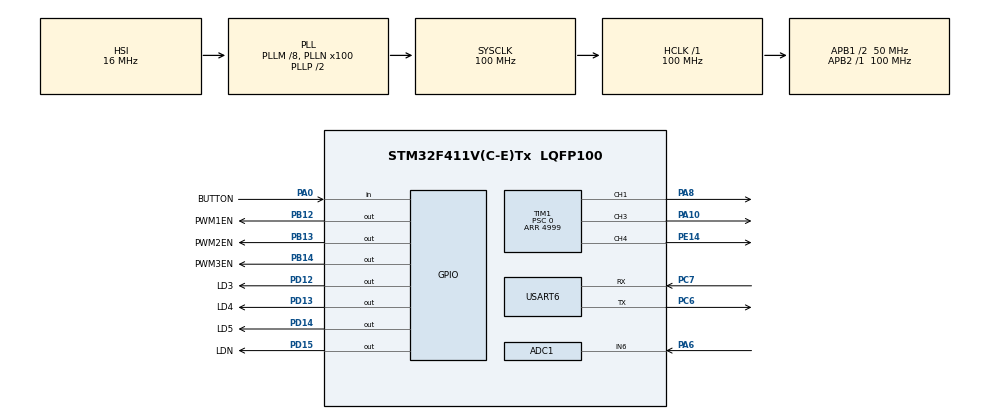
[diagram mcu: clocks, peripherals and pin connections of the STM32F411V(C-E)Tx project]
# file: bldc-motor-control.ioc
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ADC1.Channel-1\#ChannelRegularConversion=ADC_CHANNEL_6
ADC1.ClockPrescaler=ADC_CLOCK_SYNC_PCLK_DIV8
ADC1.ContinuousConvMode=ENABLE
ADC1.DMAContinuousRequests=DISABLE
ADC1.NbrOfConversion=1
ADC1.NbrOfConversionFlag=1
ADC1.Rank-1\#ChannelRegularConversion=1
ADC1.SamplingTime-1\#ChannelRegularConversion=ADC_SAMPLETIME_3CYCLES
ADC1.ScanConvMode=ENABLE
ADC1.master=1
Dma.ADC1.0.Direction=DMA_PERIPH_TO_MEMORY
Dma.ADC1.0.FIFOMode=DMA_FIFOMODE_DISABLE
Dma.ADC1.0.Instance=DMA2_Stream0
Dma.ADC1.0.MemDataAlignment=DMA_MDATAALIGN_HALFWORD
Dma.ADC1.0.MemInc=DMA_MINC_ENABLE
Dma.ADC1.0.Mode=DMA_CIRCULAR
Dma.ADC1.0.PeriphDataAlignment=DMA_PDATAALIGN_HALFWORD
Dma.ADC1.0.PeriphInc=DMA_PINC_DISABLE
Dma.ADC1.0.Priority=DMA_PRIORITY_LOW
Dma.Request0=ADC1
Dma.Request1=USART6_RX
Dma.Request2=USART6_TX
Dma.USART6_RX.1.Direction=DMA_PERIPH_TO_MEMORY
Dma.USART6_RX.1.FIFOMode=DMA_FIFOMODE_DISABLE
Dma.USART6_RX.1.Instance=DMA2_Stream1
Dma.USART6_RX.1.MemDataAlignment=DMA_MDATAALIGN_BYTE
Dma.USART6_RX.1.MemInc=DMA_MINC_ENABLE
Dma.USART6_RX.1.Mode=DMA_NORMAL
Dma.USART6_RX.1.PeriphDataAlignment=DMA_PDATAALIGN_BYTE
Dma.USART6_RX.1.PeriphInc=DMA_PINC_DISABLE
Dma.USART6_RX.1.Priority=DMA_PRIORITY_LOW
Dma.USART6_TX.2.Direction=DMA_MEMORY_TO_PERIPH
Dma.USART6_TX.2.FIFOMode=DMA_FIFOMODE_DISABLE
Dma.USART6_TX.2.Instance=DMA2_Stream6
Dma.USART6_TX.2.MemDataAlignment=DMA_MDATAALIGN_BYTE
Dma.USART6_TX.2.MemInc=DMA_MINC_ENABLE
Dma.USART6_TX.2.Mode=DMA_NORMAL
Dma.USART6_TX.2.PeriphDataAlignment=DMA_PDATAALIGN_BYTE
Dma.USART6_TX.2.PeriphInc=DMA_PINC_DISABLE
Dma.USART6_TX.2.Priority=DMA_PRIORITY_LOW
FREERTOS.Tasks01=MotorTask,40,256,StartMotorTask,Default,NULL,Dynamic,NULL,NULL;PotTask,24,256,StartPotTask,Default,NULL,Dynamic,NULL,NULL;ComTask,8,256,StartComTask,Default,NULL,Dynamic,NULL,NULL
FREERTOS.configTICK_RATE_HZ=1000
Mcu.Family=STM32F4
Mcu.Name=STM32F411V(C-E)Tx
Mcu.Package=LQFP100
NVIC.ADC_IRQn=true\:5\:0\:false\:false\:true\:true\:true\:true\:true
NVIC.DMA2_Stream0_IRQn=true\:5\:0\:false\:false\:true\:true\:false\:true\:true
NVIC.DMA2_Stream1_IRQn=true\:5\:0\:false\:false\:true\:true\:false\:true\:true
NVIC.DMA2_Stream6_IRQn=true\:5\:0\:false\:false\:true\:true\:false\:true\:true
NVIC.PriorityGroup=NVIC_PRIORITYGROUP_4
NVIC.USART6_IRQn=true\:5\:0\:false\:false\:true\:true\:true\:true\:true
PA0-WKUP.GPIO_Label=BUTTON
PA0-WKUP.Signal=GPIO_Input
PA10.Signal=S_TIM1_CH3
PA6.Signal=ADCx_IN6
PA8.Signal=S_TIM1_CH1
PB12.GPIO_Label=PWM1EN
PB12.Signal=GPIO_Output
PB13.GPIO_Label=PWM2EN
PB13.Signal=GPIO_Output
PB14.GPIO_Label=PWM3EN
PB14.Signal=GPIO_Output
PC6.Mode=Asynchronous
PC6.Signal=USART6_TX
PC7.Mode=Asynchronous
PC7.Signal=USART6_RX
PD12.GPIO_Label=LD3
PD12.GPIO_Speed=GPIO_SPEED_FREQ_HIGH
PD12.Signal=GPIO_Output
PD13.GPIO_Label=LD4
PD13.GPIO_Speed=GPIO_SPEED_FREQ_HIGH
PD13.Signal=GPIO_Output
PD14.GPIO_Label=LD5
PD14.GPIO_Speed=GPIO_SPEED_FREQ_HIGH
PD14.Signal=GPIO_Output
PD15.GPIO_Label=LDN
PD15.GPIO_Speed=GPIO_SPEED_FREQ_HIGH
PD15.Signal=GPIO_Output
PE14.Signal=S_TIM1_CH4
ProjectManager.HeapSize=0x200
ProjectManager.StackSize=0x400
ProjectManager.TargetToolchain=STM32CubeIDE
RCC.48MHZClocksFreq_Value=50000000
RCC.AHBFreq_Value=100000000
RCC.APB1CLKDivider=RCC_HCLK_DIV2
RCC.APB1Freq_Value=50000000
RCC.APB1TimFreq_Value=100000000
RCC.APB2Freq_Value=100000000
RCC.APB2TimFreq_Value=100000000
RCC.CortexFreq_Value=100000000
RCC.HCLKFreq_Value=100000000
RCC.HSE_VALUE=25000000
RCC.HSI_VALUE=16000000
RCC.LSE_VALUE=32768
RCC.PLLM=8
RCC.PLLN=100
RCC.SYSCLKFreq_VALUE=100000000
RCC.SYSCLKSource=RCC_SYSCLKSOURCE_PLLCLK
RCC.VCOOutputFreq_Value=200000000
SH.ADCx_IN6.0=ADC1_IN6,IN6
SH.S_TIM1_CH1.0=TIM1_CH1,PWM Generation1 CH1
SH.S_TIM1_CH3.0=TIM1_CH3,PWM Generation3 CH3
SH.S_TIM1_CH4.0=TIM1_CH4,PWM Generation4 CH4
TIM1.AutomaticOutput=TIM_AUTOMATICOUTPUT_ENABLE
TIM1.BreakState=TIM_BREAK_ENABLE
TIM1.Channel-PWM\ Generation1\ CH1=TIM_CHANNEL_1
TIM1.Channel-PWM\ Generation3\ CH3=TIM_CHANNEL_3
TIM1.Channel-PWM\ Generation4\ CH4=TIM_CHANNEL_4
TIM1.CounterMode=TIM_COUNTERMODE_UP
TIM1.OCMode_PWM-PWM\ Generation1\ CH1=TIM_OCMODE_PWM1
TIM1.OCMode_PWM-PWM\ Generation3\ CH3=TIM_OCMODE_PWM1
TIM1.OCMode_PWM-PWM\ Generation4\ CH4=TIM_OCMODE_PWM1
TIM1.OffStateIDLEMode=TIM_OSSI_ENABLE
TIM1.OffStateRunMode=TIM_OSSR_ENABLE
TIM1.Period=4999
TIM1.Prescaler=0
USART6.VirtualMode=VM_ASYNC
VP_FREERTOS_VS_CMSIS_V2.Mode=CMSIS_V2
board=custom

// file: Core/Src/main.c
/* USER CODE BEGIN Header */
/**
  ******************************************************************************
  * @file           : main.c
  * @brief          : Main program body
  ******************************************************************************
  * @attention
  *
  * Copyright (c) 2024 STMicroelectronics.
  * All rights reserved.
  *
  * This software is licensed under terms that can be found in the LICENSE file
  * in the root directory of this software component.
  * If no LICENSE file comes with this software, it is provided AS-IS.
  *
  ******************************************************************************
  */
/* USER CODE END Header */
#include "main.h"
#include "cmsis_os.h"
#include "adc.h"
#include "dma.h"
#include "tim.h"
#include "usart.h"
#include "gpio.h"

/* USER CODE BEGIN Includes */
#include "MotorControl/MotorControl.h"
/* USER CODE END Includes */

void SystemClock_Config(void);
void MX_FREERTOS_Init(void);

/* USER CODE BEGIN 0 */

osMutexId_t stepSizeMutexHandle;
osMutexId_t torqueMutexHandle;

/* USER CODE END 0 */

int main(void)
{

  /* MCU Configuration--------------------------------------------------------*/

  /* Reset of all peripherals, Initializes the Flash interface and the Systick. */
  HAL_Init();

  /* Configure the system clock */
  SystemClock_Config();

  /* Initialize all configured peripherals */
  MX_GPIO_Init();
  MX_DMA_Init();
  MX_ADC1_Init();
  MX_USART6_UART_Init();
  MX_TIM1_Init();

  /* Init scheduler */
  osKernelInitialize();

  /* Call init function for freertos objects (in freertos.c) */
  MX_FREERTOS_Init();

  /* Start scheduler */
  osKernelStart();

  /* We should never get here as control is now taken by the scheduler */
  /* Infinite loop */
  while (1)
  {

    /* USER CODE BEGIN 3 */

//	HAL_GPIO_TogglePin(LD3_GPIO_Port, LD3_Pin);

//    if (MotorSetSpeed(newSpeed)){
//    	printf("New speed: %i\n", newSpeed);
//    }

//	MotorSixStepAlgorithm();

//	printf("ADC value: %i\n", new_torque);
//	HAL_Delay(10);

  }
  /* USER CODE END 3 */
}

void SystemClock_Config(void)
{
  RCC_OscInitTypeDef RCC_OscInitStruct = {0};
  RCC_ClkInitTypeDef RCC_ClkInitStruct = {0};

  /** Configure the main internal regulator output voltage
  */
  __HAL_RCC_PWR_CLK_ENABLE();
  __HAL_PWR_VOLTAGESCALING_CONFIG(PWR_REGULATOR_VOLTAGE_SCALE1);

  /** Initializes the RCC Oscillators according to the specified parameters
  * in the RCC_OscInitTypeDef structure.
  */
  RCC_OscInitStruct.OscillatorType = RCC_OSCILLATORTYPE_HSI;
  RCC_OscInitStruct.HSIState = RCC_HSI_ON;
  RCC_OscInitStruct.HSICalibrationValue = RCC_HSICALIBRATION_DEFAULT;
  RCC_OscInitStruct.PLL.PLLState = RCC_PLL_ON;
  RCC_OscInitStruct.PLL.PLLSource = RCC_PLLSOURCE_HSI;
  RCC_OscInitStruct.PLL.PLLM = 8;
  RCC_OscInitStruct.PLL.PLLN = 100;
  RCC_OscInitStruct.PLL.PLLP = RCC_PLLP_DIV2;
  RCC_OscInitStruct.PLL.PLLQ = 4;
  if (HAL_RCC_OscConfig(&RCC_OscInitStruct) != HAL_OK)
  {
    Error_Handler();
  }

  /** Initializes the CPU, AHB and APB buses clocks
  */
  RCC_ClkInitStruct.ClockType = RCC_CLOCKTYPE_HCLK|RCC_CLOCKTYPE_SYSCLK
                              |RCC_CLOCKTYPE_PCLK1|RCC_CLOCKTYPE_PCLK2;
  RCC_ClkInitStruct.SYSCLKSource = RCC_SYSCLKSOURCE_PLLCLK;
  RCC_ClkInitStruct.AHBCLKDivider = RCC_SYSCLK_DIV1;
  RCC_ClkInitStruct.APB1CLKDivider = RCC_HCLK_DIV2;
  RCC_ClkInitStruct.APB2CLKDivider = RCC_HCLK_DIV1;

  if (HAL_RCC_ClockConfig(&RCC_ClkInitStruct, FLASH_LATENCY_3) != HAL_OK)
  {
    Error_Handler();
  }
}

/* USER CODE BEGIN 4 */

int __io_putchar(int ch)
{
    if (ch == '\n') {
        uint8_t ch6 = '\r';
        HAL_UART_Transmit(&huart6, &ch6, 1, HAL_MAX_DELAY);
    }

    HAL_UART_Transmit(&huart6, (uint8_t*)&ch, 1, HAL_MAX_DELAY);
    return 1;
}

/* USER CODE END 4 */

void Error_Handler(void)
{
  __disable_irq();
  while (1)
  {
  }
}

#ifdef  USE_FULL_ASSERT
/**
  * @brief  Reports the name of the source file and the source line number
  *         where the assert_param error has occurred.
  * @param  file: pointer to the source file name
  * @param  line: assert_param error line source number
  * @retval None
  */
void assert_failed(uint8_t *file, uint32_t line)
{
  /* USER CODE BEGIN 6 */
    printf("Wrong parameters value: file %s on line %d\n", file, line);

  /* User can add his own implementation to report the file name and line number,
     ex: printf("Wrong parameters value: file %s on line %d\r\n", file, line) */
  /* USER CODE END 6 */
}
#endif /* USE_FULL_ASSERT */

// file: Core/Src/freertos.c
/* USER CODE BEGIN Header */
/**
  ******************************************************************************
  * File Name          : freertos.c
  * Description        : Code for freertos applications
  ******************************************************************************
  * @attention
  *
  * Copyright (c) 2024 STMicroelectronics.
  * All rights reserved.
  *
  * This software is licensed under terms that can be found in the LICENSE file
  * in the root directory of this software component.
  * If no LICENSE file comes with this software, it is provided AS-IS.
  *
  ******************************************************************************
  */
/* USER CODE END Header */

#include "FreeRTOS.h"
#include "task.h"
#include "main.h"
#include "cmsis_os.h"

/* USER CODE BEGIN Includes */
#include "MotorControl/MotorControl.h"
#include "Pot/Pot.h"
#include "Com/Com.h"
/* USER CODE END Includes */

/* Definitions for MotorTask */
osThreadId_t MotorTaskHandle;
const osThreadAttr_t MotorTask_attributes = {
  .name = "MotorTask",
  .stack_size = 256 * 4,
  .priority = (osPriority_t) osPriorityHigh,
};
/* Definitions for PotTask */
osThreadId_t PotTaskHandle;
const osThreadAttr_t PotTask_attributes = {
  .name = "PotTask",
  .stack_size = 256 * 4,
  .priority = (osPriority_t) osPriorityNormal,
};
/* Definitions for ComTask */
osThreadId_t ComTaskHandle;
const osThreadAttr_t ComTask_attributes = {
  .name = "ComTask",
  .stack_size = 256 * 4,
  .priority = (osPriority_t) osPriorityLow,
};

void StartMotorTask(void *argument);
void StartPotTask(void *argument);
void StartComTask(void *argument);

void MX_FREERTOS_Init(void); /* (MISRA C 2004 rule 8.1) */

void MX_FREERTOS_Init(void) {

  /* Create the thread(s) */
  /* creation of MotorTask */
  MotorTaskHandle = osThreadNew(StartMotorTask, NULL, &MotorTask_attributes);

  /* creation of PotTask */
  PotTaskHandle = osThreadNew(StartPotTask, NULL, &PotTask_attributes);

  /* creation of ComTask */
  ComTaskHandle = osThreadNew(StartComTask, NULL, &ComTask_attributes);

}

void StartMotorTask(void *argument)
{
  /* USER CODE BEGIN StartMotorTask */
  MotorControlTask();
  /* USER CODE END StartMotorTask */
}

void StartPotTask(void *argument)
{
  /* USER CODE BEGIN StartPotTask */
  PotTask();
  /* USER CODE END StartPotTask */
}

void StartComTask(void *argument)
{
  /* USER CODE BEGIN StartComTask */
  ComTask();
  /* USER CODE END StartComTask */
}
